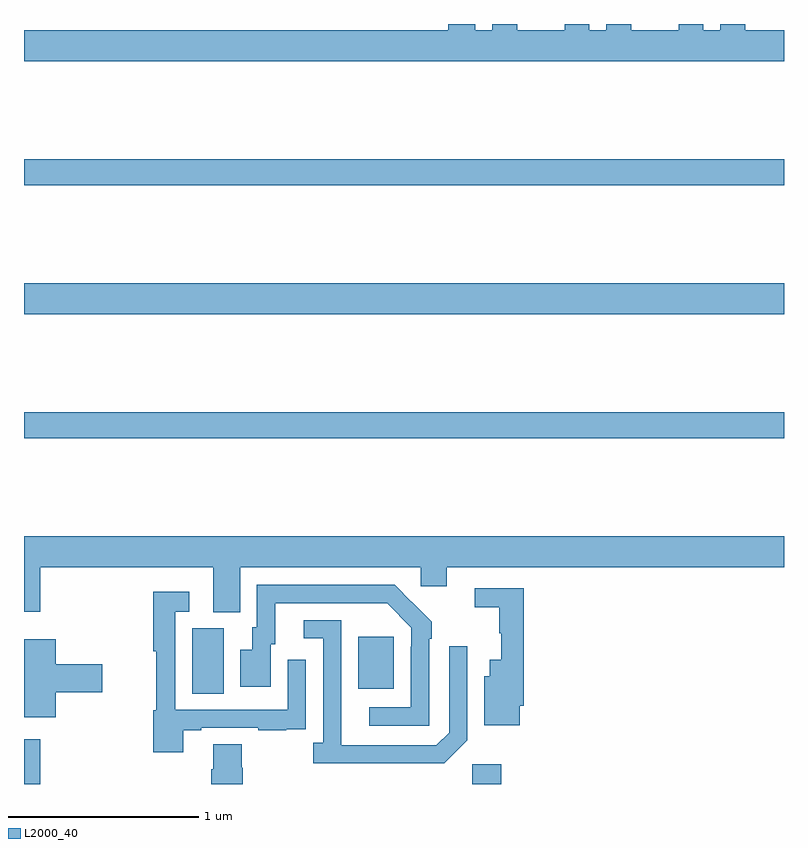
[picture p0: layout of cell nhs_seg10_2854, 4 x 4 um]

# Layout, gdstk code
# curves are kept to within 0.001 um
import gdstk
lib = gdstk.Library(unit=1e-6, precision=1e-09)
def R(c, l, rs):  # rectangles x0, y0, x1, y1
    for r in rs: c.add(gdstk.rectangle(r[:2], r[2:], *l))
def P(c, l, *ps):  # polygons
    for p in ps: c.add(gdstk.Polygon(p, *l))
L2000_40 = (2000, 40)

nhs_seg10_2854 = lib.new_cell('nhs_seg10_2854')
R(nhs_seg10_2854, L2000_40, [(265,1308.5,265.085,1308.736), (267.36,1308.5,267.512,1308.604), (265.886,1308.976,266.05,1309.32), (266.759,1309.001,266.947,1309.276), (265,1310.32,269,1310.456), (265,1310.972,269,1311.136), (265,1311.652,269,1311.788)])
P(nhs_seg10_2854, L2000_40, [(269,1312.468),(268.795,1312.468),(268.795,1312.5),(268.664,1312.5),(268.664,1312.468),(268.576,1312.468),(268.576,1312.5),(268.445,1312.5),(268.445,1312.468),(268.195,1312.468),(268.195,1312.5),(268.064,1312.5),(268.064,1312.468),(267.976,1312.468),(267.976,1312.5),(267.845,1312.5),(267.845,1312.468),(267.595,1312.468),(267.595,1312.5),(267.464,1312.5),(267.464,1312.468),(267.376,1312.468),(267.376,1312.5),(267.233,1312.5),(267.233,1312.468),(265,1312.468),(265,1312.304),(269,1312.304)],
  [(266.137,1309.64),(267.087,1309.64),(267.087,1309.542),(267.226,1309.542),(267.226,1309.64),(269,1309.64),(269,1309.804),(265,1309.804),(265,1309.407),(265.085,1309.407),(265.085,1309.64),(265.997,1309.64),(265.997,1309.405),(266.137,1309.405)],
  [(267.132,1309.265),(267.147,1309.265),(267.147,1309.353),(266.95,1309.548),(266.226,1309.548),(266.226,1309.326),(266.201,1309.326),(266.201,1309.207),(266.138,1309.207),(266.138,1309.011),(266.299,1309.011),(266.299,1309.236),(266.323,1309.236),(266.323,1309.452),(266.911,1309.452),(267.039,1309.323),(267.039,1309.223),(267.036,1309.223),(267.036,1308.903),(266.817,1308.903),(266.817,1308.807),(267.132,1308.807)],
  [(267.61,1308.913),(267.629,1308.913),(267.629,1309.53),(267.372,1309.53),(267.372,1309.429),(267.501,1309.429),(267.501,1309.293),(267.512,1309.293),(267.512,1309.153),(267.452,1309.153),(267.452,1309.066),(267.422,1309.066),(267.422,1308.809),(267.61,1308.809)],
  [(265.837,1308.783),(265.933,1308.783),(265.933,1308.795),(266.233,1308.795),(266.233,1308.783),(266.381,1308.783),(266.381,1308.789),(266.483,1308.789),(266.483,1308.898),(266.484,1308.898),(266.484,1309.153),(266.388,1309.153),(266.388,1308.891),(265.797,1308.891),(265.797,1309.407),(265.87,1309.407),(265.87,1309.513),(265.681,1309.513),(265.681,1309.2),(265.696,1309.2),(265.696,1308.888),(265.681,1308.888),(265.681,1308.666),(265.837,1308.666)],
  [(267.333,1308.729),(267.333,1309.225),(267.237,1309.225),(267.237,1308.771),(267.171,1308.705),(266.671,1308.705),(266.67,1309.362),(266.472,1309.362),(266.472,1309.266),(266.574,1309.266),(266.574,1308.718),(266.523,1308.718),(266.523,1308.608),(267.212,1308.608)],
  [(265.168,1308.983),(265.411,1308.983),(265.411,1309.13),(265.168,1309.13),(265.168,1309.261),(265,1309.261),(265,1308.851),(265.168,1308.851)],
  [(266.15,1308.585),(266.145,1308.585),(266.145,1308.71),(265.997,1308.71),(265.997,1308.578),(265.985,1308.578),(265.985,1308.5),(266.15,1308.5)])

lib.write_gds('nhs_seg10_2854.gds')
